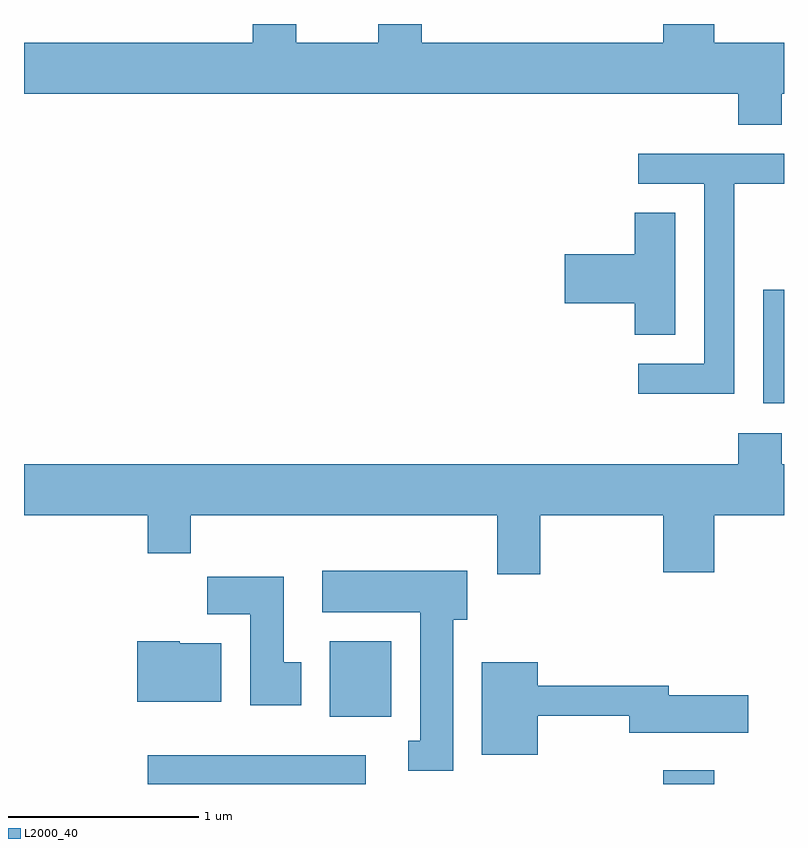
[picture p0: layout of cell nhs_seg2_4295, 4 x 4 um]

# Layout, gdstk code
import gdstk
lib = gdstk.Library(unit=1e-6, precision=1e-09)
def R(c, l, rs):  # rectangles x0, y0, x1, y1
    for r in rs: c.add(gdstk.rectangle(r[:2], r[2:], *l))
def P(c, l, *ps):  # polygons
    for p in ps: c.add(gdstk.Polygon(p, *l))
L2000_40 = (2000, 40)

nhs_seg2_4295 = lib.new_cell('nhs_seg2_4295')
R(nhs_seg2_4295, L2000_40, [(312.261,1035.802,313.409,1035.954), (314.976,1035.802,315.244,1035.874), (313.221,1036.156,313.544,1036.554), (315.501,1037.806,315.611,1038.404)])
P(nhs_seg2_4295, L2000_40, [(315.599,1039.436),(315.611,1039.436),(315.611,1039.704),(315.244,1039.704),(315.244,1039.802),(314.976,1039.802),(314.976,1039.704),(313.704,1039.704),(313.704,1039.802),(313.476,1039.802),(313.476,1039.704),(313.044,1039.704),(313.044,1039.802),(312.816,1039.802),(312.816,1039.704),(311.611,1039.704),(311.611,1039.436),(315.371,1039.436),(315.371,1039.271),(315.599,1039.271)],
  [(315.349,1038.961),(315.611,1038.961),(315.611,1039.119),(314.843,1039.119),(314.843,1038.961),(315.191,1038.961),(315.191,1038.014),(314.843,1038.014),(314.843,1037.856),(315.349,1037.856)],
  [(315.039,1038.809),(314.826,1038.809),(314.826,1038.589),(314.456,1038.589),(314.456,1038.331),(314.826,1038.331),(314.826,1038.166),(315.039,1038.166)],
  [(314.329,1037.216),(314.976,1037.216),(314.976,1036.916),(315.244,1036.916),(315.244,1037.216),(315.611,1037.216),(315.611,1037.484),(315.599,1037.484),(315.599,1037.649),(315.371,1037.649),(315.371,1037.484),(311.611,1037.484),(311.611,1037.216),(312.261,1037.216),(312.261,1037.016),(312.489,1037.016),(312.489,1037.216),(314.101,1037.216),(314.101,1036.906),(314.329,1036.906)],
  [(313.869,1036.666),(313.944,1036.666),(313.944,1036.924),(313.181,1036.924),(313.181,1036.706),(313.696,1036.706),(313.696,1036.029),(313.633,1036.029),(313.633,1035.871),(313.869,1035.871)],
  [(313.069,1036.444),(312.979,1036.444),(312.979,1036.894),(312.576,1036.894),(312.576,1036.696),(312.801,1036.696),(312.801,1036.216),(313.069,1036.216)],
  [(312.649,1036.544),(312.43,1036.544),(312.43,1036.554),(312.206,1036.554),(312.206,1036.236),(312.649,1036.236)],
  [(314.314,1036.161),(314.796,1036.161),(314.796,1036.071),(315.424,1036.071),(315.424,1036.269),(315.004,1036.269),(315.004,1036.319),(314.314,1036.319),(314.314,1036.444),(314.021,1036.444),(314.021,1035.956),(314.314,1035.956)])

lib.write_gds('nhs_seg2_4295.gds')
